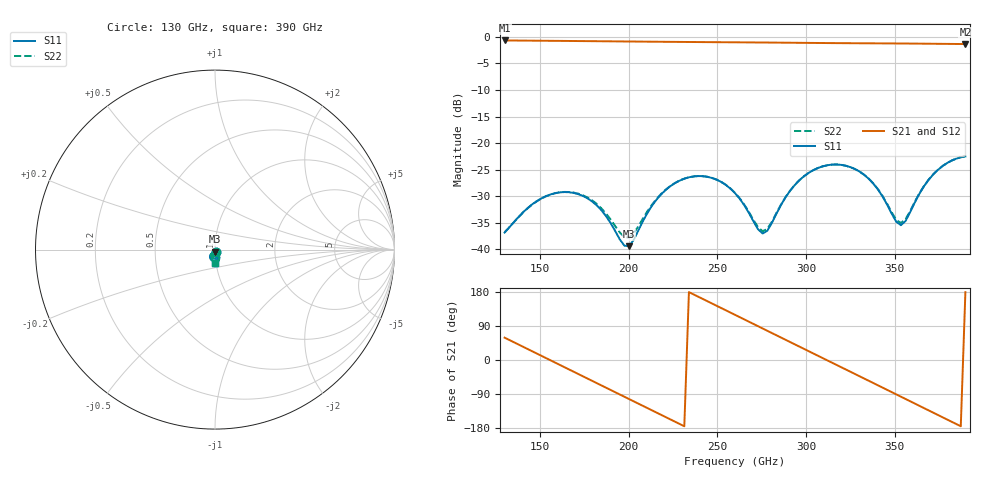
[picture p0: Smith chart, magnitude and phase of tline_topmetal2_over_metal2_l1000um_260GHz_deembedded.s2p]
! Created with skrf 2.2.0 (http://scikit-rf.org).
# GHz S DB R 50.0
! Port[1] = P1
! Port[2] = P2
!freq dBS11 angS11 dBS21 angS21 dBS12 angS12 dBS22 angS22
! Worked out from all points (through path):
!   101 points, 130 GHz to 390 GHz, reference 50 ohm
!   highest |S21| = -0.67 dB at 130 GHz (marker M1); lowest = -1.3 dB at 390 GHz (marker M2)
!   group delay of S21, straight-line fit = 6.41 ps
!   lowest |S11| = -39.4 dB at 200.2 GHz (marker M3), VSWR 1.02, Z = 50 - j1.07 ohm
!   |S11| at or under -10 dB: start of sweep to end of sweep
!   |S22| runs from -37.8 to -22.5 dB; largest |S21 - S12| = 1.6e-12
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130  -36.82 -76.6  -0.67 59.0  -0.67 59.0  -36.75 -77.7
143  -32.21 -73.0  -0.70 29.0  -0.70 29.0  -32.26 -72.6
153.4  -29.97 -85.2  -0.73 5.0  -0.73 5.0  -30.00 -84.0
163.8  -29.20 -101.2  -0.75 -19.0  -0.75 -19.0  -29.18 -99.2
174.2  -29.93 -117.4  -0.78 -43.0  -0.78 -43.0  -29.82 -114.5
187.2  -33.71 -130.6  -0.82 -73.0  -0.82 -73.0  -33.23 -125.9
200.2  -39.39 -87.3  -0.86 -103.0  -0.86 -103.0  -37.79 -89.9
218.4  -29.60 -62.9  -0.91 -144.9  -0.91 -144.9  -29.51 -66.0
228.8  -27.04 -78.6  -0.94 -168.9  -0.94 -168.9  -27.02 -80.4
239.2  -26.19 -96.6  -0.97 167.2  -0.97 167.2  -26.19 -97.6
260  -29.40 -128.1  -1.01 119.2  -1.01 119.2  -29.34 -127.6
275.6  -37.00 -97.1  -1.05 83.2  -1.05 83.2  -36.57 -97.5
288.6  -30.16 -57.4  -1.09 53.2  -1.09 53.2  -30.11 -58.6
304.2  -25.07 -76.0  -1.13 17.2  -1.13 17.2  -25.08 -76.3
314.6  -24.04 -93.9  -1.16 -6.8  -1.16 -6.8  -24.04 -93.7
325  -24.49 -111.8  -1.18 -30.7  -1.18 -30.7  -24.49 -111.2
338  -27.59 -129.8  -1.21 -60.7  -1.21 -60.7  -27.55 -128.6
348.4  -33.25 -123.7  -1.23 -84.7  -1.23 -84.7  -33.00 -121.9
353.6  -35.44 -94.3  -1.24 -96.8  -1.24 -96.8  -35.02 -93.9
366.6  -28.13 -57.4  -1.27 -126.8  -1.27 -126.8  -28.07 -57.7
379.6  -23.76 -73.0  -1.31 -156.9  -1.31 -156.9  -23.74 -72.5
390  -22.49 -90.7  -1.34 179.2  -1.34 179.2  -22.47 -89.7
